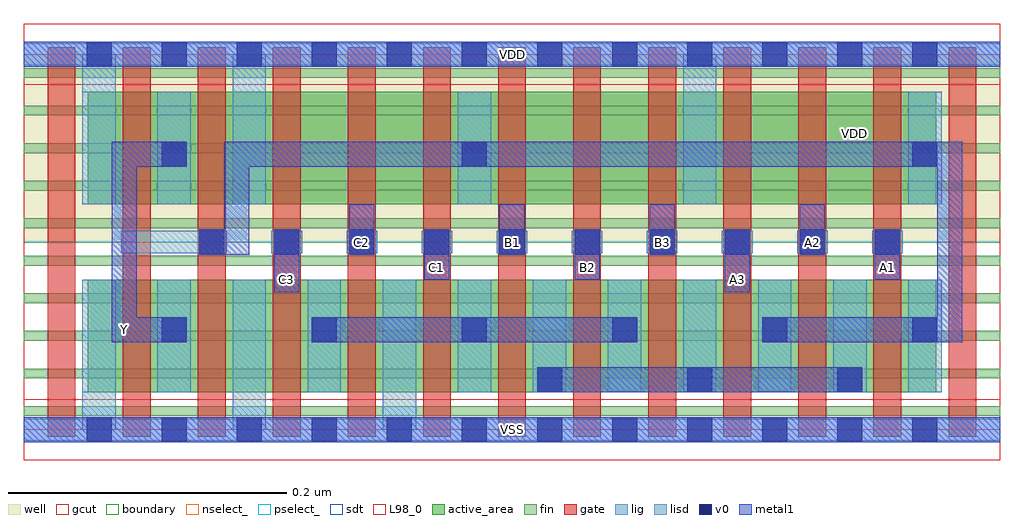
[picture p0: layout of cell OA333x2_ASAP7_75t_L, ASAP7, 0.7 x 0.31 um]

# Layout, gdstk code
import gdstk
lib = gdstk.Library(unit=1e-6, precision=2.5e-10)
def R(c, l, rs):  # rectangles x0, y0, x1, y1
    for r in rs: c.add(gdstk.rectangle(r[:2], r[2:], *l))
def A(c, l, x, y, w, h, nx, ny, dx, dy):  # array of equal rectangles
    R(c, l, [(x+i*dx, y+j*dy, x+i*dx+w, y+j*dy+h) for i in range(nx) for j in range(ny)])
def P(c, l, *ps):  # polygons
    for p in ps: c.add(gdstk.Polygon(p, *l))
well = (1, 0)
fin = (2, 0)
gate = (7, 0)
gcut = (10, 0)
active_area = (11, 0)
nselect_ = (12, 0)
pselect_ = (13, 0)
lig = (16, 0)
lisd = (17, 0)
v0 = (18, 0)
metal1 = (19, 0)
sdt = (88, 0)
L98_0 = (98, 0)
boundary = (100, 0)

oa333x2_asap7_75t_l = lib.new_cell('OA333x2_ASAP7_75t_L')
R(oa333x2_asap7_75t_l, well, [(0,0.135,0.702,0.27)])
A(oa333x2_asap7_75t_l, fin, 0, 0.01, 0.702, 0.007, 1, 10, 0, 0.027)
A(oa333x2_asap7_75t_l, gate, 0.017, -0.005, 0.02, 0.28, 13, 1, 0.054, 0)
R(oa333x2_asap7_75t_l, gcut, [(0,-0.022,0.702,0.022), (0,0.248,0.702,0.292)])
R(oa333x2_asap7_75t_l, active_area, [(0.046,0.027,0.656,0.108), (0.046,0.162,0.656,0.243)])
R(oa333x2_asap7_75t_l, nselect_, [(0,0,0.702,0.135)])
R(oa333x2_asap7_75t_l, pselect_, [(0,0.135,0.702,0.27)])
A(oa333x2_asap7_75t_l, lig, 0.178, 0.127, 0.022, 0.016, 9, 1, 0.054, 0)
R(oa333x2_asap7_75t_l, lig, [(0,-0.008,0.702,0.008), (0.07,0.127,0.146,0.143), (0,0.262,0.702,0.278)])
A(oa333x2_asap7_75t_l, lisd, 0.042, 0, 0.024, 0.108, 3, 1, 0.108, 0)
A(oa333x2_asap7_75t_l, lisd, 0.096, 0.027, 0.024, 0.081, 3, 1, 0.108, 0)
A(oa333x2_asap7_75t_l, lisd, 0.366, 0.027, 0.024, 0.081, 6, 1, 0.054, 0)
R(oa333x2_asap7_75t_l, lisd, [(0.042,0.162,0.066,0.27), (0.096,0.162,0.12,0.243), (0.15,0.162,0.174,0.27), (0.312,0.162,0.336,0.243), (0.474,0.162,0.498,0.27), (0.636,0.162,0.66,0.243)])
A(oa333x2_asap7_75t_l, v0, 0.045, -0.009, 0.018, 0.018, 12, 2, 0.054, 0.27)
A(oa333x2_asap7_75t_l, v0, 0.369, 0.027, 0.018, 0.018, 3, 1, 0.108, 0)
A(oa333x2_asap7_75t_l, v0, 0.099, 0.063, 0.018, 0.018, 6, 1, 0.108, 0)
A(oa333x2_asap7_75t_l, v0, 0.126, 0.126, 0.018, 0.018, 10, 1, 0.054, 0)
R(oa333x2_asap7_75t_l, v0, [(0.099,0.189,0.117,0.207), (0.315,0.189,0.333,0.207), (0.639,0.189,0.657,0.207)])
A(oa333x2_asap7_75t_l, metal1, 0.234, 0.126, 0.018, 0.036, 4, 1, 0.108, 0)
R(oa333x2_asap7_75t_l, metal1, [(0,-0.009,0.702,0.009), (0.369,0.027,0.603,0.045), (0.207,0.063,0.441,0.081), (0.18,0.099,0.198,0.144), (0.504,0.099,0.522,0.144), (0.288,0.108,0.306,0.144), (0.396,0.108,0.414,0.144), (0.612,0.108,0.63,0.144), (0,0.261,0.702,0.279)])
P(oa333x2_asap7_75t_l, metal1, [(0.144,0.207),(0.144,0.144),(0.126,0.144),(0.126,0.126),(0.162,0.126),(0.162,0.189),(0.657,0.189),(0.657,0.081),(0.531,0.081),(0.531,0.063),(0.675,0.063),(0.675,0.207)],
  [(0.117,0.081),(0.081,0.081),(0.081,0.189),(0.117,0.189),(0.117,0.207),(0.063,0.207),(0.063,0.063),(0.117,0.063)])
A(oa333x2_asap7_75t_l, sdt, 0.042, 0.027, 0.024, 0.081, 12, 1, 0.054, 0)
A(oa333x2_asap7_75t_l, sdt, 0.042, 0.162, 0.024, 0.081, 3, 1, 0.054, 0)
A(oa333x2_asap7_75t_l, sdt, 0.312, 0.162, 0.024, 0.081, 3, 1, 0.162, 0)
R(oa333x2_asap7_75t_l, L98_0, [(0,0,0.702,0.27)])
R(oa333x2_asap7_75t_l, boundary, [(0,0,0.702,0.27)])
oa333x2_asap7_75t_l.add(gdstk.Label('Y', (0.072,0.072), layer=19, texttype=251))
oa333x2_asap7_75t_l.add(gdstk.Label('C3', (0.189,0.108), layer=19, texttype=251))
oa333x2_asap7_75t_l.add(gdstk.Label('C2', (0.243,0.135), layer=19, texttype=251))
oa333x2_asap7_75t_l.add(gdstk.Label('C1', (0.297,0.117), layer=19, texttype=251))
oa333x2_asap7_75t_l.add(gdstk.Label('B3', (0.459,0.135), layer=19, texttype=251))
oa333x2_asap7_75t_l.add(gdstk.Label('B2', (0.405,0.117), layer=19, texttype=251))
oa333x2_asap7_75t_l.add(gdstk.Label('B1', (0.351,0.135), layer=19, texttype=251))
oa333x2_asap7_75t_l.add(gdstk.Label('A3', (0.513,0.108), layer=19, texttype=251))
oa333x2_asap7_75t_l.add(gdstk.Label('A2', (0.567,0.135), layer=19, texttype=251))
oa333x2_asap7_75t_l.add(gdstk.Label('A1', (0.621,0.117), layer=19, texttype=251))
oa333x2_asap7_75t_l.add(gdstk.Label('VSS', (0.351,0), layer=19, texttype=251))
oa333x2_asap7_75t_l.add(gdstk.Label('VDD', (0.351,0.27), layer=19, texttype=251))
oa333x2_asap7_75t_l.add(gdstk.Label('VDD', (0.597,0.213), layer=1, texttype=251))
oa333x2_asap7_75t_l.add(gdstk.Label('VSS', (0.807,0.213), layer=3, texttype=251))

lib.write_gds('OA333x2_ASAP7_75t_L.gds')
